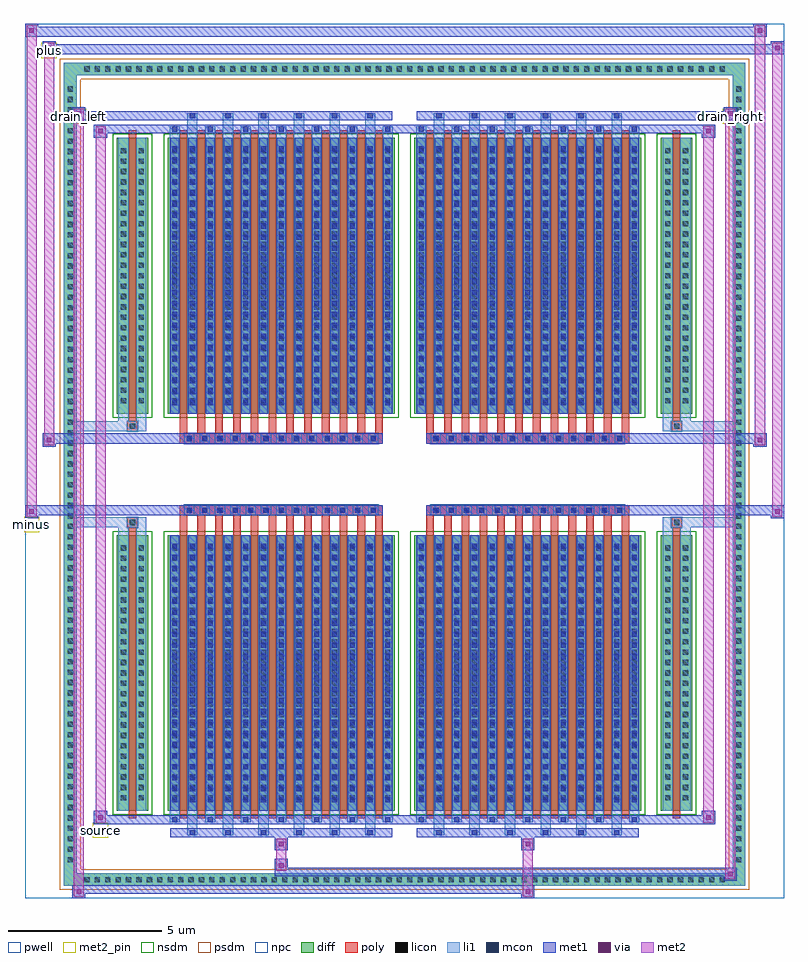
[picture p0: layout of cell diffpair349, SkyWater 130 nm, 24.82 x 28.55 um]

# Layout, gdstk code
import gdstk
lib = gdstk.Library(unit=1e-6, precision=5e-09)
def R(c, l, rs):  # rectangles x0, y0, x1, y1
    for r in rs: c.add(gdstk.rectangle(r[:2], r[2:], *l))
def A(c, l, x, y, w, h, nx, ny, dx, dy):  # array of equal rectangles
    R(c, l, [(x+i*dx, y+j*dy, x+i*dx+w, y+j*dy+h) for i in range(nx) for j in range(ny)])
def P(c, l, *ps):  # polygons
    for p in ps: c.add(gdstk.Polygon(p, *l))
pwell = (64, 44)
diff = (65, 20)
poly = (66, 20)
licon = (66, 44)
li1 = (67, 20)
mcon = (67, 44)
met1 = (68, 20)
via = (68, 44)
met2_pin = (69, 16)
met2 = (69, 20)
nsdm = (93, 44)
psdm = (94, 20)
npc = (95, 20)

diffpair349 = lib.new_cell('diffpair349')
R(diffpair349, pwell, [(-12.39,-13.84,12.39,14.71), (-9.71,-12.03,-0.01,-0.805), (0.01,-12.03,9.71,-0.805), (-9.71,0.805,-0.01,12.03), (0.01,0.805,9.71,12.03)])
A(diffpair349, diff, -10.575, -13.44, 0.41, 0.41, 62, 2, 0.34, 26.47)
A(diffpair349, diff, -11.12, -12.785, 0.41, 0.41, 1, 75, 0, 0.34)
A(diffpair349, diff, 10.71, -12.785, 0.41, 0.41, 1, 75, 0, 0.34)
R(diffpair349, diff, [(-10.575,-13.44,10.575,-13.03), (-11.12,-12.785,-10.71,12.785), (10.71,-12.785,11.12,12.785), (-9.4,-10.985,-8.37,-1.985), (-7.73,-10.985,-0.32,-1.985), (0.32,-10.985,7.73,-1.985), (8.37,-10.985,9.4,-1.985), (-9.4,1.985,-8.37,10.985), (-7.73,1.985,-0.32,10.985), (0.32,1.985,7.73,10.985), (8.37,1.985,9.4,10.985), (-10.575,13.03,10.575,13.44)])
P(diffpair349, diff, [(11.12,13.44),(-11.12,13.44),(-11.12,-13.03),(-10.71,-13.03),(-10.71,13.03),(10.71,13.03),(10.71,-13.03),(-10.71,-13.03),(-11.12,-13.03),(-11.12,-13.44),(11.12,-13.44)])
A(diffpair349, poly, -7.34, -11.235, 0.25, 9.5, 12, 2, 0.58, 12.97)
A(diffpair349, poly, 0.71, -11.235, 0.25, 9.5, 12, 2, 0.58, 12.97)
A(diffpair349, poly, -7.34, -1.735, 0.25, 0.4, 12, 2, 0.58, 3.07)
A(diffpair349, poly, 0.71, -1.735, 0.25, 0.4, 12, 2, 0.58, 3.07)
A(diffpair349, poly, -7.19, -1.335, 0.33, 0.33, 13, 2, 0.5, 2.34)
A(diffpair349, poly, 0.86, -1.335, 0.33, 0.33, 13, 2, 0.5, 2.34)
R(diffpair349, poly, [(-9.01,-11.235,-8.76,-1.735), (8.76,-11.235,9.01,-1.735), (-9.05,-1.735,-8.72,-1.405), (-9.05,-1.735,-8.72,-1.405), (8.72,-1.735,9.05,-1.405), (8.72,-1.735,9.05,-1.405), (-7.34,-1.335,-0.71,-1.005), (0.71,-1.335,7.34,-1.005), (-7.34,1.005,-0.71,1.335), (0.71,1.005,7.34,1.335), (-9.05,1.405,-8.72,1.735), (-9.05,1.405,-8.72,1.735), (8.72,1.405,9.05,1.735), (8.72,1.405,9.05,1.735), (-9.01,1.735,-8.76,11.235), (8.76,1.735,9.01,11.235)])
A(diffpair349, licon, -10.455, -13.32, 0.17, 0.17, 62, 2, 0.34, 26.47)
A(diffpair349, licon, -11, -12.665, 0.17, 0.17, 1, 75, 0, 0.34)
A(diffpair349, licon, 10.83, -12.665, 0.17, 0.17, 1, 75, 0, 0.34)
A(diffpair349, licon, -9.26, -10.65, 0.17, 0.17, 1, 25, 0, 0.34)
A(diffpair349, licon, -8.68, -10.65, 0.17, 0.17, 1, 25, 0, 0.34)
A(diffpair349, licon, -7.59, -10.65, 0.17, 0.17, 13, 25, 0.58, 0.34)
A(diffpair349, licon, 0.46, -10.65, 0.17, 0.17, 13, 25, 0.58, 0.34)
A(diffpair349, licon, 8.51, -10.65, 0.17, 0.17, 1, 25, 0, 0.34)
A(diffpair349, licon, 9.09, -10.65, 0.17, 0.17, 1, 25, 0, 0.34)
A(diffpair349, licon, -7.11, -1.255, 0.17, 0.17, 13, 2, 0.5, 2.34)
A(diffpair349, licon, 0.94, -1.255, 0.17, 0.17, 13, 2, 0.5, 2.34)
A(diffpair349, licon, -9.26, 2.32, 0.17, 0.17, 1, 25, 0, 0.34)
A(diffpair349, licon, -8.68, 2.32, 0.17, 0.17, 1, 25, 0, 0.34)
A(diffpair349, licon, -7.59, 2.32, 0.17, 0.17, 13, 25, 0.58, 0.34)
A(diffpair349, licon, 0.46, 2.32, 0.17, 0.17, 13, 25, 0.58, 0.34)
A(diffpair349, licon, 8.51, 2.32, 0.17, 0.17, 1, 25, 0, 0.34)
A(diffpair349, licon, 9.09, 2.32, 0.17, 0.17, 1, 25, 0, 0.34)
R(diffpair349, licon, [(-8.97,-1.655,-8.8,-1.485), (8.8,-1.655,8.97,-1.485), (-8.97,1.485,-8.8,1.655), (8.8,1.485,8.97,1.655)])
A(diffpair349, li1, -10.535, -13.4, 0.33, 0.33, 62, 2, 0.34, 26.47)
A(diffpair349, li1, -11.08, -12.745, 0.33, 0.33, 1, 75, 0, 0.34)
A(diffpair349, li1, 10.75, -12.745, 0.33, 0.33, 1, 75, 0, 0.34)
A(diffpair349, li1, -7.09, -11.79, 0.33, 0.805, 6, 2, 1.16, 22.775)
A(diffpair349, li1, -7.01, -11.79, 0.17, 0.17, 6, 2, 1.16, 23.41)
A(diffpair349, li1, 0.96, -11.79, 0.33, 0.805, 6, 2, 1.16, 22.775)
A(diffpair349, li1, 1.04, -11.79, 0.17, 0.17, 6, 2, 1.16, 23.41)
A(diffpair349, li1, -7.67, -11.36, 0.33, 0.375, 7, 2, 1.16, 22.345)
A(diffpair349, li1, -7.59, -11.36, 0.17, 0.17, 7, 2, 1.16, 22.55)
A(diffpair349, li1, 0.38, -11.36, 0.33, 0.375, 7, 2, 1.16, 22.345)
A(diffpair349, li1, 0.46, -11.36, 0.17, 0.17, 7, 2, 1.16, 22.55)
A(diffpair349, li1, -7.67, -10.985, 0.33, 9, 13, 2, 0.58, 12.97)
A(diffpair349, li1, 0.38, -10.985, 0.33, 9, 13, 2, 0.58, 12.97)
A(diffpair349, li1, -9.34, -10.73, 0.33, 0.33, 1, 25, 0, 0.34)
A(diffpair349, li1, -8.76, -10.73, 0.33, 0.33, 1, 25, 0, 0.34)
A(diffpair349, li1, -7.67, -10.73, 0.33, 0.33, 13, 25, 0.58, 0.34)
A(diffpair349, li1, 0.38, -10.73, 0.33, 0.33, 13, 25, 0.58, 0.34)
A(diffpair349, li1, 8.43, -10.73, 0.33, 0.33, 1, 25, 0, 0.34)
A(diffpair349, li1, 9.01, -10.73, 0.33, 0.33, 1, 25, 0, 0.34)
A(diffpair349, li1, -7.59, -10.71, 0.17, 0.17, 13, 24, 0.58, 0.36)
A(diffpair349, li1, -7.59, -10.71, 0.17, 8.45, 13, 2, 0.58, 12.97)
A(diffpair349, li1, 0.46, -10.71, 0.17, 0.17, 13, 24, 0.58, 0.36)
A(diffpair349, li1, 0.46, -10.71, 0.17, 8.45, 13, 2, 0.58, 12.97)
A(diffpair349, li1, -7.19, -1.335, 0.33, 0.33, 13, 2, 0.5, 2.34)
A(diffpair349, li1, 0.86, -1.335, 0.33, 0.33, 13, 2, 0.5, 2.34)
A(diffpair349, li1, -9.34, 2.24, 0.33, 0.33, 1, 25, 0, 0.34)
A(diffpair349, li1, -8.76, 2.24, 0.33, 0.33, 1, 25, 0, 0.34)
A(diffpair349, li1, -7.67, 2.24, 0.33, 0.33, 13, 25, 0.58, 0.34)
A(diffpair349, li1, 0.38, 2.24, 0.33, 0.33, 13, 25, 0.58, 0.34)
A(diffpair349, li1, 8.43, 2.24, 0.33, 0.33, 1, 25, 0, 0.34)
A(diffpair349, li1, 9.01, 2.24, 0.33, 0.33, 1, 25, 0, 0.34)
A(diffpair349, li1, -7.59, 2.26, 0.17, 0.17, 13, 24, 0.58, 0.36)
A(diffpair349, li1, 0.46, 2.26, 0.17, 0.17, 13, 24, 0.58, 0.36)
R(diffpair349, li1, [(-11.12,-13.44,-10.71,-13.03), (-11.12,-13.44,-10.71,-13.03), (-10.71,-13.44,10.71,-13.03), (10.71,-13.44,11.12,-13.03), (10.71,-13.44,11.12,-13.03), (-11.12,-13.03,-10.71,13.03), (10.71,-13.03,11.12,13.03), (-9.34,-10.985,-9.01,-1.985), (-8.76,-10.985,-8.43,-1.985), (8.43,-10.985,8.76,-1.985), (9.01,-10.985,9.34,-1.985), (-9.34,-1.985,-9.01,-1.405), (-8.76,-1.985,-8.43,-1.405), (8.43,-1.985,8.76,-1.405), (9.01,-1.985,9.34,-1.405), (-11.12,-1.735,-9.05,-1.405), (-9.34,-1.735,-9.05,-1.405), (-9.05,-1.735,-8.72,-1.405), (-8.72,-1.735,-8.43,-1.405), (8.43,-1.735,8.72,-1.405), (8.72,-1.735,9.05,-1.405), (8.72,-1.735,11.12,-1.405), (9.05,-1.735,9.34,-1.405), (-11.12,1.405,-9.05,1.735), (-9.34,1.405,-9.05,1.735), (-9.34,1.405,-9.01,1.985), (-9.05,1.405,-8.72,1.735), (-8.76,1.405,-8.43,1.985), (-8.72,1.405,-8.43,1.735), (8.43,1.405,8.72,1.735), (8.43,1.405,8.76,1.985), (8.72,1.405,9.05,1.735), (8.72,1.405,11.12,1.735), (9.01,1.405,9.34,1.985), (9.05,1.405,9.34,1.735), (-9.34,1.985,-9.01,10.985), (-8.76,1.985,-8.43,10.985), (8.43,1.985,8.76,10.985), (9.01,1.985,9.34,10.985), (-11.12,13.03,-10.71,13.44), (-11.12,13.03,-10.71,13.44), (-10.71,13.03,10.71,13.44), (10.71,13.03,11.12,13.44), (10.71,13.03,11.12,13.44)])
A(diffpair349, mcon, -7.01, -11.79, 0.17, 0.17, 6, 2, 1.16, 23.41)
A(diffpair349, mcon, 1.04, -11.79, 0.17, 0.17, 6, 2, 1.16, 23.41)
A(diffpair349, mcon, -7.59, -11.36, 0.17, 0.17, 7, 2, 1.16, 22.55)
A(diffpair349, mcon, 0.46, -11.36, 0.17, 0.17, 7, 2, 1.16, 22.55)
A(diffpair349, mcon, -7.59, -10.71, 0.17, 0.17, 13, 24, 0.58, 0.36)
A(diffpair349, mcon, 0.46, -10.71, 0.17, 0.17, 13, 24, 0.58, 0.36)
A(diffpair349, mcon, -7.11, -1.255, 0.17, 0.17, 13, 2, 0.5, 2.34)
A(diffpair349, mcon, 0.94, -1.255, 0.17, 0.17, 13, 2, 0.5, 2.34)
A(diffpair349, mcon, -7.59, 2.26, 0.17, 0.17, 13, 24, 0.58, 0.36)
A(diffpair349, mcon, 0.46, 2.26, 0.17, 0.17, 13, 24, 0.58, 0.36)
A(diffpair349, met1, -7.07, -11.85, 0.29, 0.29, 6, 2, 1.16, 23.41)
A(diffpair349, met1, 0.98, -11.85, 0.29, 0.29, 6, 2, 1.16, 23.41)
A(diffpair349, met1, -7.65, -11.42, 0.29, 0.29, 7, 2, 1.16, 22.55)
A(diffpair349, met1, 0.4, -11.42, 0.29, 0.29, 7, 2, 1.16, 22.55)
A(diffpair349, met1, -7.65, -10.985, 0.29, 9, 13, 2, 0.58, 12.97)
A(diffpair349, met1, 0.4, -10.985, 0.29, 9, 13, 2, 0.58, 12.97)
A(diffpair349, met1, -7.65, -10.77, 0.29, 0.29, 13, 24, 0.58, 0.36)
A(diffpair349, met1, 0.4, -10.77, 0.29, 0.29, 13, 24, 0.58, 0.36)
A(diffpair349, met1, -7.17, -1.315, 0.29, 0.29, 13, 2, 0.5, 2.34)
A(diffpair349, met1, 0.88, -1.315, 0.29, 0.29, 13, 2, 0.5, 2.34)
A(diffpair349, met1, -7.65, 2.2, 0.29, 0.29, 13, 24, 0.58, 0.36)
A(diffpair349, met1, 0.4, 2.2, 0.29, 0.29, 13, 24, 0.58, 0.36)
R(diffpair349, met1, [(-10.85,-13.84,-10.42,-13.41), (3.81,-13.84,4.24,-13.41), (-10.85,-13.7,4.24,-13.41), (10.42,-13.27,10.85,-12.84), (-4.24,-13.13,10.85,-12.84), (-4.24,-12.99,-3.81,-12.56), (-4.24,-12.28,-3.81,-11.85), (3.81,-12.28,4.24,-11.85), (-7.65,-11.85,-0.4,-11.56), (0.4,-11.85,7.65,-11.56), (-10.14,-11.42,-9.71,-10.99), (-10.14,-11.42,-7.65,-11.13), (-7.65,-11.42,-0.4,-11.13), (-0.4,-11.42,0.4,-11.13), (0.4,-11.42,7.65,-11.13), (7.65,-11.42,10.14,-11.13), (9.71,-11.42,10.14,-10.99), (-12.39,-1.435,-11.96,-1.005), (11.96,-1.435,12.39,-1.005), (-12.39,-1.335,-0.71,-1.005), (-7.34,-1.335,-0.71,-1.005), (0.71,-1.335,7.34,-1.005), (0.71,-1.335,12.39,-1.005), (-11.82,0.905,-11.39,1.335), (11.39,0.905,11.82,1.335), (-11.82,1.005,-7.34,1.335), (-7.34,1.005,-0.71,1.335), (0.71,1.005,7.34,1.335), (7.34,1.005,11.82,1.335), (-10.14,10.99,-9.71,11.42), (9.71,10.99,10.14,11.42), (-10.14,11.13,-7.65,11.42), (-7.65,11.13,-0.4,11.42), (-0.4,11.13,0.4,11.42), (0.4,11.13,7.65,11.42), (7.65,11.13,10.14,11.42), (-10.85,11.56,-10.42,11.99), (-10.85,11.56,-7.65,11.85), (-7.65,11.56,-0.4,11.85), (0.4,11.56,7.65,11.85), (7.65,11.56,10.85,11.85), (10.42,11.56,10.85,11.99), (-11.82,13.71,-11.39,14.14), (-11.82,13.71,-9.71,14.04), (-9.71,13.71,9.71,14.04), (9.71,13.71,12.39,14.04), (11.96,13.71,12.39,14.14), (-12.39,14.28,-11.96,14.71), (-12.39,14.28,-9.71,14.61), (-9.71,14.28,9.71,14.61), (9.71,14.28,11.82,14.61), (11.39,14.28,11.82,14.71)])
R(diffpair349, via, [(-10.71,-13.7,-10.56,-13.55), (3.95,-13.7,4.1,-13.55), (10.56,-13.13,10.71,-12.98), (-4.1,-12.85,-3.95,-12.7), (-4.1,-12.14,-3.95,-11.99), (3.95,-12.14,4.1,-11.99), (-10,-11.28,-9.85,-11.13), (9.85,-11.28,10,-11.13), (-12.25,-1.295,-12.1,-1.145), (12.1,-1.295,12.25,-1.145), (-11.68,1.045,-11.53,1.195), (11.53,1.045,11.68,1.195), (-10,11.13,-9.85,11.28), (9.85,11.13,10,11.28), (-10.71,11.7,-10.56,11.85), (10.56,11.7,10.71,11.85), (-11.68,13.85,-11.53,14), (12.1,13.85,12.25,14), (-12.25,14.42,-12.1,14.57), (11.53,14.42,11.68,14.57)])
R(diffpair349, met2_pin, [(-10.175,-11.87,-9.675,-11.37), (-12.425,-1.885,-11.925,-1.385), (-10.885,11.44,-10.385,11.94), (10.385,11.44,10.885,11.94), (-11.855,13.59,-11.355,14.09)])
R(diffpair349, met2, [(-10.8,-13.79,-10.47,-13.46), (-10.8,-13.79,-10.47,11.94), (3.86,-13.79,4.19,-13.46), (3.86,-13.46,4.19,-12.23), (10.47,-13.22,10.8,-12.89), (10.47,-13.22,10.8,11.94), (-4.19,-12.94,-3.86,-12.61), (-4.19,-12.61,-3.86,-12.23), (-4.19,-12.23,-3.86,-11.9), (3.86,-12.23,4.19,-11.9), (-10.09,-11.37,-9.76,-11.04), (-10.09,-11.37,-9.76,11.37), (9.76,-11.37,10.09,-11.04), (9.76,-11.37,10.09,11.37), (-12.34,-1.385,-12.01,-1.055), (-12.34,-1.385,-12.01,14.66), (12.01,-1.385,12.34,-1.055), (12.01,-1.385,12.34,14.09), (-11.77,0.955,-11.44,1.285), (-11.77,0.955,-11.44,14.09), (11.44,0.955,11.77,1.285), (11.44,0.955,11.77,14.66), (-10.09,11.04,-9.76,11.37), (9.76,11.04,10.09,11.37), (-10.8,11.61,-10.47,11.94), (10.47,11.61,10.8,11.94), (-11.77,13.76,-11.44,14.09), (12.01,13.76,12.34,14.09), (-12.34,14.33,-12.01,14.66), (11.44,14.33,11.77,14.66)])
P(diffpair349, met2, [(12.34,-1.385),(12.34,-1.385),(12.34,-1.055),(12.34,-1.055)],
  [(12.34,13.76),(12.34,13.76),(12.34,14.09),(12.34,14.09)],
  [(-12.01,-1.385),(-12.01,-1.385),(-12.01,-1.055),(-12.01,-1.055)],
  [(-12.01,14.33),(-12.01,14.33),(-12.01,14.66),(-12.01,14.66)],
  [(11.77,0.955),(11.77,0.955),(11.77,1.285),(11.77,1.285)],
  [(11.77,14.33),(11.77,14.33),(11.77,14.66),(11.77,14.66)],
  [(-11.44,0.955),(-11.44,0.955),(-11.44,1.285),(-11.44,1.285)],
  [(-11.44,13.76),(-11.44,13.76),(-11.44,14.09),(-11.44,14.09)],
  [(-10.47,-13.79),(-10.47,-13.79),(-10.47,-13.46),(-10.47,-13.46)],
  [(-10.47,11.61),(-10.47,11.61),(-10.47,11.94),(-10.47,11.94)],
  [(10.8,-13.22),(10.8,-13.22),(10.8,-12.89),(10.8,-12.89)],
  [(10.8,11.61),(10.8,11.61),(10.8,11.94),(10.8,11.94)],
  [(-9.76,-11.37),(-9.76,-11.37),(-9.76,-11.04),(-9.76,-11.04)],
  [(-9.76,11.04),(-9.76,11.04),(-9.76,11.37),(-9.76,11.37)],
  [(10.09,-11.37),(10.09,-11.37),(10.09,-11.04),(10.09,-11.04)],
  [(10.09,11.04),(10.09,11.04),(10.09,11.37),(10.09,11.37)])
R(diffpair349, nsdm, [(-9.53,-11.115,-8.24,-1.855), (-7.86,-11.115,-0.19,-1.855), (0.19,-11.115,7.86,-1.855), (8.24,-11.115,9.53,-1.855), (-9.53,1.855,-8.24,11.115), (-7.86,1.855,-0.19,11.115), (0.19,1.855,7.86,11.115), (8.24,1.855,9.53,11.115)])
P(diffpair349, psdm, [(11.25,13.57),(-11.25,13.57),(-11.25,-12.9),(-10.58,-12.9),(-10.58,12.9),(10.58,12.9),(10.58,-12.9),(-10.58,-12.9),(-11.25,-12.9),(-11.25,-13.57),(11.25,-13.57)])
A(diffpair349, npc, -7.21, -1.355, 0.37, 0.37, 13, 2, 0.5, 2.34)
A(diffpair349, npc, 0.84, -1.355, 0.37, 0.37, 13, 2, 0.5, 2.34)
R(diffpair349, npc, [(-9.07,-1.755,-8.7,-1.385), (8.7,-1.755,9.07,-1.385), (-7.21,-1.355,-6.34,-0.985), (-7.21,-1.355,-6.34,-0.985), (-6.71,-1.355,-5.84,-0.985), (-6.71,-1.355,-5.84,-0.985), (-6.21,-1.355,-5.34,-0.985), (-6.21,-1.355,-5.34,-0.985), (-5.71,-1.355,-4.84,-0.985), (-5.71,-1.355,-4.84,-0.985), (-5.21,-1.355,-4.34,-0.985), (-5.21,-1.355,-4.34,-0.985), (-4.71,-1.355,-3.84,-0.985), (-4.71,-1.355,-3.84,-0.985), (-4.21,-1.355,-3.34,-0.985), (-4.21,-1.355,-3.34,-0.985), (-3.71,-1.355,-2.84,-0.985), (-3.71,-1.355,-2.84,-0.985), (-3.21,-1.355,-2.34,-0.985), (-3.21,-1.355,-2.34,-0.985), (-2.71,-1.355,-1.84,-0.985), (-2.71,-1.355,-1.84,-0.985), (-2.21,-1.355,-1.34,-0.985), (-2.21,-1.355,-1.34,-0.985), (-1.71,-1.355,-0.84,-0.985), (-1.71,-1.355,-0.84,-0.985), (0.84,-1.355,1.71,-0.985), (0.84,-1.355,1.71,-0.985), (1.34,-1.355,2.21,-0.985), (1.34,-1.355,2.21,-0.985), (1.84,-1.355,2.71,-0.985), (1.84,-1.355,2.71,-0.985), (2.34,-1.355,3.21,-0.985), (2.34,-1.355,3.21,-0.985), (2.84,-1.355,3.71,-0.985), (2.84,-1.355,3.71,-0.985), (3.34,-1.355,4.21,-0.985), (3.34,-1.355,4.21,-0.985), (3.84,-1.355,4.71,-0.985), (3.84,-1.355,4.71,-0.985), (4.34,-1.355,5.21,-0.985), (4.34,-1.355,5.21,-0.985), (4.84,-1.355,5.71,-0.985), (4.84,-1.355,5.71,-0.985), (5.34,-1.355,6.21,-0.985), (5.34,-1.355,6.21,-0.985), (5.84,-1.355,6.71,-0.985), (5.84,-1.355,6.71,-0.985), (6.34,-1.355,7.21,-0.985), (6.34,-1.355,7.21,-0.985), (-7.21,0.985,-6.34,1.355), (-7.21,0.985,-6.34,1.355), (-6.71,0.985,-5.84,1.355), (-6.71,0.985,-5.84,1.355), (-6.21,0.985,-5.34,1.355), (-6.21,0.985,-5.34,1.355), (-5.71,0.985,-4.84,1.355), (-5.71,0.985,-4.84,1.355), (-5.21,0.985,-4.34,1.355), (-5.21,0.985,-4.34,1.355), (-4.71,0.985,-3.84,1.355), (-4.71,0.985,-3.84,1.355), (-4.21,0.985,-3.34,1.355), (-4.21,0.985,-3.34,1.355), (-3.71,0.985,-2.84,1.355), (-3.71,0.985,-2.84,1.355), (-3.21,0.985,-2.34,1.355), (-3.21,0.985,-2.34,1.355), (-2.71,0.985,-1.84,1.355), (-2.71,0.985,-1.84,1.355), (-2.21,0.985,-1.34,1.355), (-2.21,0.985,-1.34,1.355), (-1.71,0.985,-0.84,1.355), (-1.71,0.985,-0.84,1.355), (0.84,0.985,1.71,1.355), (0.84,0.985,1.71,1.355), (1.34,0.985,2.21,1.355), (1.34,0.985,2.21,1.355), (1.84,0.985,2.71,1.355), (1.84,0.985,2.71,1.355), (2.34,0.985,3.21,1.355), (2.34,0.985,3.21,1.355), (2.84,0.985,3.71,1.355), (2.84,0.985,3.71,1.355), (3.34,0.985,4.21,1.355), (3.34,0.985,4.21,1.355), (3.84,0.985,4.71,1.355), (3.84,0.985,4.71,1.355), (4.34,0.985,5.21,1.355), (4.34,0.985,5.21,1.355), (4.84,0.985,5.71,1.355), (4.84,0.985,5.71,1.355), (5.34,0.985,6.21,1.355), (5.34,0.985,6.21,1.355), (5.84,0.985,6.71,1.355), (5.84,0.985,6.71,1.355), (6.34,0.985,7.21,1.355), (6.34,0.985,7.21,1.355), (-9.07,1.385,-8.7,1.755), (8.7,1.385,9.07,1.755)])
diffpair349.add(gdstk.Label('minus', (-12.175,-1.635), layer=69, texttype=5))
diffpair349.add(gdstk.Label('drain_right', (10.635,11.69), layer=69, texttype=5))
diffpair349.add(gdstk.Label('drain_left', (-10.635,11.69), layer=69, texttype=5))
diffpair349.add(gdstk.Label('source', (-9.925,-11.62), layer=69, texttype=5))
diffpair349.add(gdstk.Label('plus', (-11.605,13.84), layer=69, texttype=5))

lib.write_gds('diffpair349.gds')
